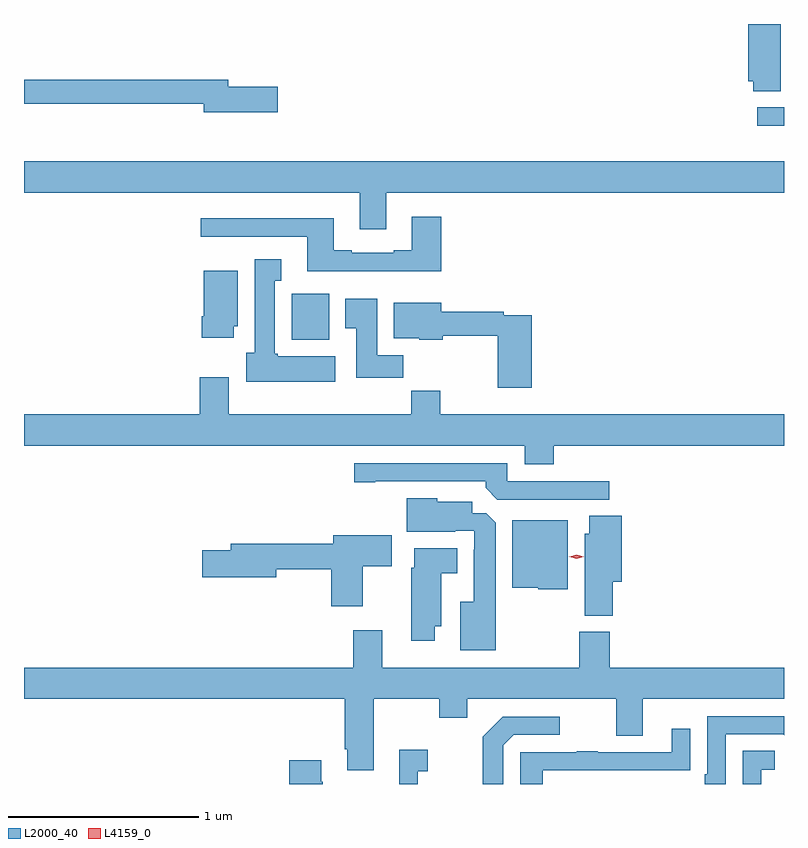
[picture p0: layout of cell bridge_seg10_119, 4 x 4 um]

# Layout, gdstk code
import gdstk
lib = gdstk.Library(unit=1e-6, precision=1e-09)
def R(c, l, rs):  # rectangles x0, y0, x1, y1
    for r in rs: c.add(gdstk.rectangle(r[:2], r[2:], *l))
def P(c, l, *ps):  # polygons
    for p in ps: c.add(gdstk.Polygon(p, *l))
L2000_40 = (2000, 40)
L4159_0 = (4159, 0)

bridge_seg10_119 = lib.new_cell('bridge_seg10_119')
R(bridge_seg10_119, L2000_40, [(387.806,1304.87,388.003,1305.112), (390.255,1305.996,390.397,1306.092)])
P(bridge_seg10_119, L2000_40, [(390.379,1306.531),(390.209,1306.531),(390.209,1306.23),(390.236,1306.23),(390.236,1306.177),(390.379,1306.177)],
  [(387.733,1306.202),(387.472,1306.202),(387.472,1306.238),(386.397,1306.238),(386.397,1306.11),(387.344,1306.11),(387.344,1306.067),(387.733,1306.067)],
  [(388.303,1305.644),(390.397,1305.644),(390.397,1305.808),(386.397,1305.808),(386.397,1305.644),(388.163,1305.644),(388.163,1305.45),(388.303,1305.45)],
  [(388.592,1305.517),(388.439,1305.517),(388.439,1305.34),(388.343,1305.34),(388.343,1305.327),(388.123,1305.327),(388.123,1305.34),(388.027,1305.34),(388.027,1305.508),(387.327,1305.508),(387.327,1305.411),(387.887,1305.411),(387.887,1305.23),(388.592,1305.23)],
  [(388.036,1304.782),(387.732,1304.782),(387.732,1304.796),(387.718,1304.796),(387.718,1305.179),(387.751,1305.179),(387.751,1305.292),(387.611,1305.292),(387.611,1304.802),(387.566,1304.802),(387.566,1304.648),(388.036,1304.648)],
  [(387.502,1304.94),(387.523,1304.94),(387.523,1305.232),(387.344,1305.232),(387.344,1304.992),(387.332,1304.992),(387.332,1304.88),(387.502,1304.88)],
  [(388.394,1304.788),(388.255,1304.788),(388.255,1305.085),(388.088,1305.085),(388.088,1304.929),(388.145,1304.929),(388.145,1304.67),(388.394,1304.67)],
  [(389.069,1304.997),(388.922,1304.997),(388.922,1305.017),(388.594,1305.017),(388.594,1305.064),(388.343,1305.064),(388.343,1304.876),(388.476,1304.876),(388.476,1304.87),(388.602,1304.87),(388.602,1304.889),(388.891,1304.889),(388.891,1304.616),(389.069,1304.616)],
  [(389.186,1304.312),(390.397,1304.312),(390.397,1304.476),(388.587,1304.476),(388.587,1304.6),(388.435,1304.6),(388.435,1304.476),(387.475,1304.476),(387.475,1304.671),(387.323,1304.671),(387.323,1304.476),(386.397,1304.476),(386.397,1304.312),(389.033,1304.312),(389.033,1304.213),(389.186,1304.213)],
  [(389.476,1304.124),(388.941,1304.124),(388.941,1304.22),(388.134,1304.22),(388.134,1304.119),(388.246,1304.119),(388.246,1304.124),(388.826,1304.124),(388.826,1304.09),(388.887,1304.028),(389.476,1304.028)],
  [(388.879,1303.907),(388.83,1303.956),(388.756,1303.956),(388.756,1304.017),(388.572,1304.017),(388.572,1304.035),(388.412,1304.035),(388.412,1303.859),(388.667,1303.859),(388.667,1303.863),(388.767,1303.863),(388.767,1303.763),(388.763,1303.763),(388.763,1303.489),(388.694,1303.489),(388.694,1303.235),(388.879,1303.235)],
  [(389.495,1303.595),(389.543,1303.595),(389.543,1303.943),(389.372,1303.943),(389.372,1303.848),(389.348,1303.848),(389.348,1303.417),(389.495,1303.417)],
  [(389.26,1303.918),(388.967,1303.918),(388.967,1303.565),(389.103,1303.565),(389.103,1303.556),(389.26,1303.556)],
  [(388.18,1303.678),(388.333,1303.678),(388.333,1303.84),(388.025,1303.84),(388.025,1303.796),(387.485,1303.796),(387.485,1303.76),(387.336,1303.76),(387.336,1303.618),(387.724,1303.618),(387.724,1303.66),(388.013,1303.66),(388.013,1303.467),(388.18,1303.467)],
  [(388.558,1303.361),(388.594,1303.361),(388.594,1303.64),(388.678,1303.64),(388.678,1303.771),(388.451,1303.771),(388.451,1303.668),(388.436,1303.668),(388.436,1303.284),(388.558,1303.284)],
  [(388.237,1302.98),(388.582,1302.98),(388.582,1302.881),(388.729,1302.881),(388.729,1302.98),(389.513,1302.98),(389.513,1302.786),(389.653,1302.786),(389.653,1302.98),(390.397,1302.98),(390.397,1303.144),(389.48,1303.144),(389.48,1303.332),(389.32,1303.332),(389.32,1303.144),(388.282,1303.144),(388.282,1303.339),(388.13,1303.339),(388.13,1303.144),(386.397,1303.144),(386.397,1302.98),(388.085,1302.98),(388.085,1302.715),(388.097,1302.715),(388.097,1302.603),(388.237,1302.603)],
  [(390.09,1302.792),(390.393,1302.792),(390.397,1302.788),(390.397,1302.888),(389.994,1302.888),(389.994,1302.583),(389.981,1302.583),(389.981,1302.531),(390.09,1302.531)],
  [(388.92,1302.735),(388.974,1302.789),(389.218,1302.789),(389.218,1302.885),(388.917,1302.885),(388.812,1302.779),(388.812,1302.531),(388.92,1302.531)],
  [(389.126,1302.603),(389.801,1302.603),(389.801,1302.604),(389.903,1302.604),(389.903,1302.823),(389.807,1302.823),(389.807,1302.699),(389.417,1302.699),(389.417,1302.704),(389.305,1302.704),(389.305,1302.699),(389.01,1302.699),(389.01,1302.531),(389.126,1302.531)],
  [(388.47,1302.599),(388.522,1302.599),(388.522,1302.712),(388.373,1302.712),(388.373,1302.531),(388.47,1302.531)],
  [(390.276,1302.606),(390.349,1302.606),(390.349,1302.707),(390.18,1302.707),(390.18,1302.531),(390.276,1302.531)],
  [(387.969,1302.542),(387.961,1302.542),(387.961,1302.655),(387.794,1302.655),(387.794,1302.531),(387.969,1302.531)])
P(bridge_seg10_119, L4159_0, [(389.305,1303.717),(389.267,1303.727),(389.267,1303.727),(389.267,1303.727),(389.305,1303.737),(389.342,1303.727),(389.342,1303.727),(389.342,1303.727)])

lib.write_gds('bridge_seg10_119.gds')
